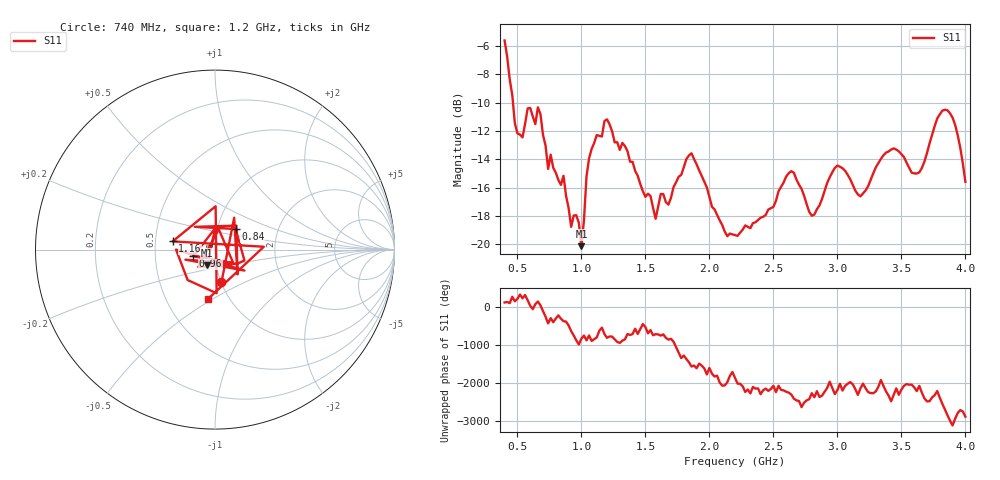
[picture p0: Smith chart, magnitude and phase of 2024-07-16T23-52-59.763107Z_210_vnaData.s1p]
!Created with skrf (http://scikit-rf.org).
# Hz S RI R 50.0
!freq ReS11 ImS11
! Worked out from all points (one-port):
!   181 points, 400 MHz to 4 GHz, reference 50 ohm
!   lowest |S11| = -20.1 dB at 1 GHz (marker M1), VSWR 1.22, Z = 45 - j7.95 ohm
!   |S11| at or under -10 dB: 465.3 MHz to end of sweep
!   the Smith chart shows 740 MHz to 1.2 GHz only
!   S11 on the Smith chart (normalised r, x): 740 MHz: 1.00, -0.38; 840 MHz: 1.22, +0.29; 960 MHz: 0.78, -0.06; 1.16 GHz: 0.62, +0.06; 1.2 GHz: 0.80, -0.48
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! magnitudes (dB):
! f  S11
! 400 MHz  -5.6
! 500 MHz  -12.2
! 660 MHz  -10.3
! 740 MHz  -14.7
! 760 MHz  -13.7
! 840 MHz  -15.8
! 860 MHz  -15.2
! 920 MHz  -18.8
! 960 MHz  -17.9
! 1 GHz  -20.1
! 1.06 GHz  -13.9
! 1.16 GHz  -12.4
! 1.2 GHz  -11.2
! 1.3 GHz  -13.3
! 1.58 GHz  -18.2
! 1.76 GHz  -15.2
! 1.86 GHz  -13.6
! 2.2 GHz  -19.3
! 2.66 GHz  -14.9
! 2.8 GHz  -18.0
! 2.98 GHz  -14.6
! 3.1 GHz  -15.4
! 3.18 GHz  -16.6
! 3.44 GHz  -13.2
! 3.56 GHz  -14.6
! 3.64 GHz  -14.9
! 3.86 GHz  -10.5
! 4 GHz  -15.6
